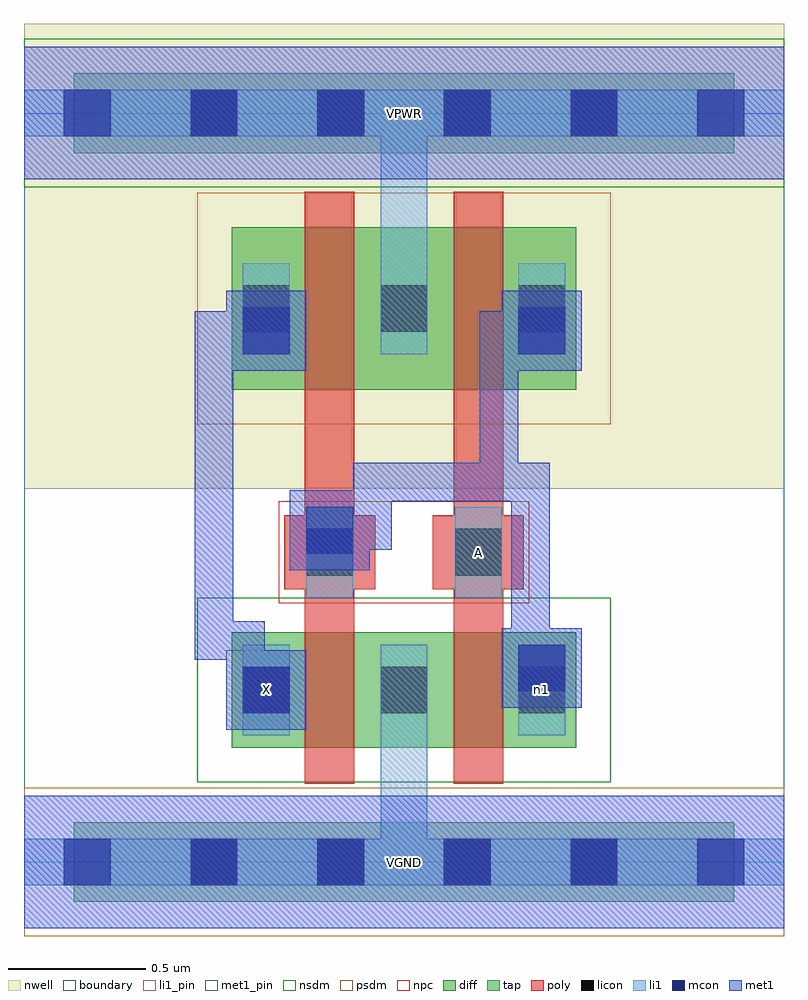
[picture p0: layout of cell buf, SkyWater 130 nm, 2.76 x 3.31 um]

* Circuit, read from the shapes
.subckt buf A VGND VPWR X n1
XM1 VGND n1 X VGND sky130_fd_pr__nfet_01v8 w=0.42 l=0.18
XM2 n1 A VGND VGND sky130_fd_pr__nfet_01v8 w=0.42 l=0.18
XM3 VPWR n1 X VPWR sky130_fd_pr__pfet_01v8 w=0.59 l=0.18
XM4 n1 A VPWR VPWR sky130_fd_pr__pfet_01v8 w=0.59 l=0.18
.ends

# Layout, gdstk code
import gdstk
lib = gdstk.Library(unit=1e-6, precision=1e-09)
def R(c, l, rs):  # rectangles x0, y0, x1, y1
    for r in rs: c.add(gdstk.rectangle(r[:2], r[2:], *l))
def A(c, l, x, y, w, h, nx, ny, dx, dy):  # array of equal rectangles
    R(c, l, [(x+i*dx, y+j*dy, x+i*dx+w, y+j*dy+h) for i in range(nx) for j in range(ny)])
nwell = (64, 20)
diff = (65, 20)
tap = (65, 44)
poly = (66, 20)
licon = (66, 44)
li1_pin = (67, 16)
li1 = (67, 20)
mcon = (67, 44)
met1_pin = (68, 16)
met1 = (68, 20)
nsdm = (93, 44)
psdm = (94, 20)
npc = (95, 20)
boundary = (235, 4)

buf = lib.new_cell('buf')
R(buf, nwell, [(0,1.355,2.76,3.045)])
R(buf, diff, [(0.755,0.415,2.005,0.835), (0.755,1.715,2.005,2.305)])
R(buf, tap, [(0.18,-0.145,2.58,0.145), (0.18,2.575,2.58,2.865)])
R(buf, poly, [(1.02,0.285,1.2,2.435), (1.56,0.285,1.74,2.435), (0.945,0.99,1.275,1.26), (1.485,0.99,1.815,1.26)])
A(buf, licon, 0.605, -0.085, 0.17, 0.17, 4, 2, 0.46, 2.72)
A(buf, licon, 0.795, 0.54, 0.17, 0.17, 3, 2, 0.5, 1.385)
R(buf, licon, [(1.025,1.04,1.195,1.21), (1.565,1.04,1.735,1.21)])
R(buf, li1_pin, [(1.565,0.96,1.735,1.29)])
A(buf, li1, 0.795, 0.46, 0.17, 0.33, 3, 2, 0.5, 1.385)
R(buf, li1, [(0,-0.085,2.76,0.085), (1.295,-0.085,1.465,0.79), (1.025,0.96,1.195,1.29), (1.565,0.96,1.735,1.29), (1.295,1.845,1.465,2.805), (0,2.635,2.76,2.805)])
A(buf, mcon, 0.145, -0.085, 0.17, 0.17, 6, 2, 0.46, 2.72)
R(buf, mcon, [(0.795,0.54,0.965,0.71), (1.795,0.62,1.965,0.79), (1.025,1.12,1.195,1.29), (0.795,1.845,0.965,2.015), (1.795,1.845,1.965,2.015)])
R(buf, met1_pin, [(0,-0.24,2.76,0.24), (0.735,0.48,1.025,0.77), (0,2.48,2.76,2.96)])
R(buf, met1, [(0,-0.24,2.76,0.24), (0.735,0.48,1.025,0.77), (1.735,0.56,2.025,0.85), (0.735,0.62,0.875,0.76), (0.735,0.62,0.875,0.875), (1.77,0.635,1.95,0.775), (1.77,0.635,1.91,0.875), (0.62,0.735,0.875,0.875), (0.62,0.735,0.76,1.91), (1.77,0.735,1.91,1.45), (0.965,1.06,1.255,1.35), (1.04,1.135,1.335,1.275), (1.195,1.135,1.335,1.45), (1.195,1.31,1.795,1.45), (1.655,1.31,1.795,1.91), (1.655,1.31,1.91,1.45), (0.62,1.77,0.76,2), (1.655,1.77,1.795,2), (0.735,1.785,1.025,2.075), (1.735,1.785,2.025,2.075), (0.62,1.86,0.95,2), (1.655,1.86,1.95,2), (0,2.48,2.76,2.96)])
R(buf, nsdm, [(0.63,0.29,2.13,0.96), (0,2.45,2.76,2.99)])
R(buf, psdm, [(0,-0.27,2.76,0.27), (0.63,1.59,2.13,2.43)])
R(buf, npc, [(0.925,0.94,1.835,1.31)])
R(buf, boundary, [(0,0,2.76,2.72)])
buf.add(gdstk.Label('A', (1.65,1.125), layer=67, texttype=5))
buf.add(gdstk.Label('n1', (1.88,0.625), layer=67, texttype=5))
buf.add(gdstk.Label('X', (0.88,0.625), layer=68, texttype=5))
buf.add(gdstk.Label('VPWR', (1.38,2.72), layer=68, texttype=5))
buf.add(gdstk.Label('VGND', (1.38,0), layer=68, texttype=5))
buf.add(gdstk.Label('A', (1.65,1.125), layer=67, texttype=16))
buf.add(gdstk.Label('X', (0.88,0.625), layer=68, texttype=16))
buf.add(gdstk.Label('VPWR', (1.38,2.72), layer=68, texttype=16))
buf.add(gdstk.Label('VGND', (1.38,0), layer=68, texttype=16))

lib.write_gds('buf.gds')
